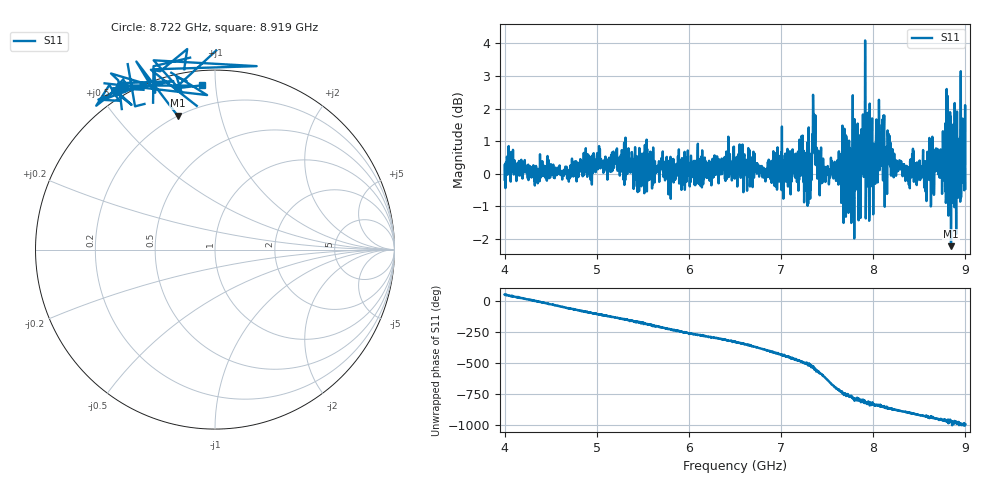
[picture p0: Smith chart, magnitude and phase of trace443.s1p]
! Created with skrf 1.8.0 (http://scikit-rf.org).
# Hz S RI R 50.0
!freq ReS11 ImS11
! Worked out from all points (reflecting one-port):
!   1601 points, 4 GHz to 9 GHz, reference 50 ohm
!   lowest |S11| = -2.2 dB at 8.844 GHz (marker M1), VSWR 7.84, Z = 9.96 + j37 ohm
!   phase of S11 starts at 51 deg and turns -1048 deg over the sweep
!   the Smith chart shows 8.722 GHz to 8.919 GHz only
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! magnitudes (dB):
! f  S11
! 4 GHz  -0.2
! 4.066 GHz  -0.2
! 4.625 GHz  -0.2
! 5.25 GHz  -0.1
! 5.875 GHz  0.1
! 6.5 GHz  0.0
! 7.125 GHz  0.7
! 7.222 GHz  1.2
! 7.312 GHz  -0.2
! 7.362 GHz  1.6
! 7.4 GHz  0.6
! 7.441 GHz  0.2
! 7.75 GHz  0.2
! 7.788 GHz  0.0
! 7.822 GHz  1.5
! 7.859 GHz  1.2
! 7.891 GHz  0.5
! 7.928 GHz  1.8
! 7.944 GHz  1.9
! 8 GHz  -1.2
! 8.097 GHz  0.7
! 8.128 GHz  0.8
! 8.375 GHz  0.1
! 8.766 GHz  0.6
! 8.816 GHz  -1.3
! 8.844 GHz  -2.2
! 8.972 GHz  0.3
! 9 GHz  -0.5
